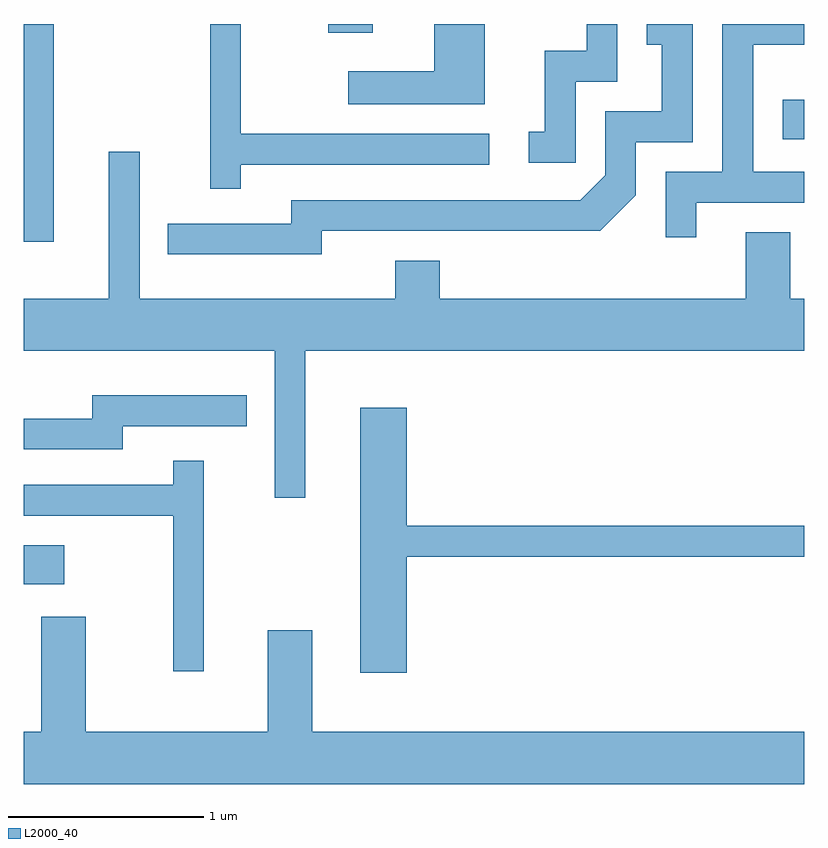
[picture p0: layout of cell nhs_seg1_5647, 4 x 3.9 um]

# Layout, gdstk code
import gdstk
lib = gdstk.Library(unit=1e-6, precision=1e-09)
def R(c, l, rs):  # rectangles x0, y0, x1, y1
    for r in rs: c.add(gdstk.rectangle(r[:2], r[2:], *l))
def P(c, l, *ps):  # polygons
    for p in ps: c.add(gdstk.Polygon(p, *l))
L2000_40 = (2000, 40)

nhs_seg1_5647 = lib.new_cell('nhs_seg1_5647')
R(nhs_seg1_5647, L2000_40, [(355.611,882.841,355.819,883.039), (355.611,884.596,355.764,885.712), (359.501,885.121,359.611,885.324), (357.171,885.666,357.399,885.712)])
P(nhs_seg1_5647, L2000_40, [(357.974,885.712),(357.716,885.712),(357.716,885.469),(357.273,885.469),(357.273,885.301),(357.974,885.301)],
  [(358.439,885.416),(358.654,885.416),(358.654,885.712),(358.496,885.712),(358.496,885.574),(358.281,885.574),(358.281,885.159),(358.198,885.159),(358.198,885.001),(358.439,885.001)],
  [(356.724,884.991),(357.998,884.991),(357.998,885.149),(356.724,885.149),(356.724,885.712),(356.566,885.712),(356.566,884.868),(356.724,884.868)],
  [(357.139,884.651),(358.567,884.651),(358.749,884.834),(358.749,885.106),(359.039,885.106),(359.039,885.712),(358.803,885.712),(358.803,885.606),(358.881,885.606),(358.881,885.264),(358.591,885.264),(358.591,884.937),(358.464,884.809),(356.981,884.809),(356.981,884.689),(356.348,884.689),(356.348,884.531),(357.139,884.531)],
  [(359.059,884.796),(359.611,884.796),(359.611,884.954),(359.349,884.954),(359.349,885.606),(359.611,885.606),(359.611,885.712),(359.191,885.712),(359.191,884.954),(358.901,884.954),(358.901,884.618),(359.059,884.618)],
  [(357.054,884.036),(359.611,884.036),(359.611,884.304),(359.539,884.304),(359.539,884.644),(359.311,884.644),(359.311,884.304),(357.744,884.304),(357.744,884.499),(357.516,884.499),(357.516,884.304),(356.204,884.304),(356.204,885.058),(356.046,885.058),(356.046,884.304),(355.611,884.304),(355.611,884.036),(356.896,884.036),(356.896,883.283),(357.054,883.283)],
  [(356.119,883.651),(356.753,883.651),(356.753,883.809),(355.961,883.809),(355.961,883.689),(355.611,883.689),(355.611,883.531),(356.119,883.531)],
  [(357.574,882.981),(359.611,882.981),(359.611,883.139),(357.574,883.139),(357.574,883.744),(357.336,883.744),(357.336,882.386),(357.574,882.386)],
  [(356.534,883.473),(356.376,883.473),(356.376,883.349),(355.611,883.349),(355.611,883.191),(356.376,883.191),(356.376,882.393),(356.534,882.393)],
  [(359.611,882.084),(357.089,882.084),(357.089,882.604),(356.861,882.604),(356.861,882.084),(355.929,882.084),(355.929,882.674),(355.701,882.674),(355.701,882.084),(355.611,882.084),(355.611,881.816),(359.611,881.816)])

lib.write_gds('nhs_seg1_5647.gds')
